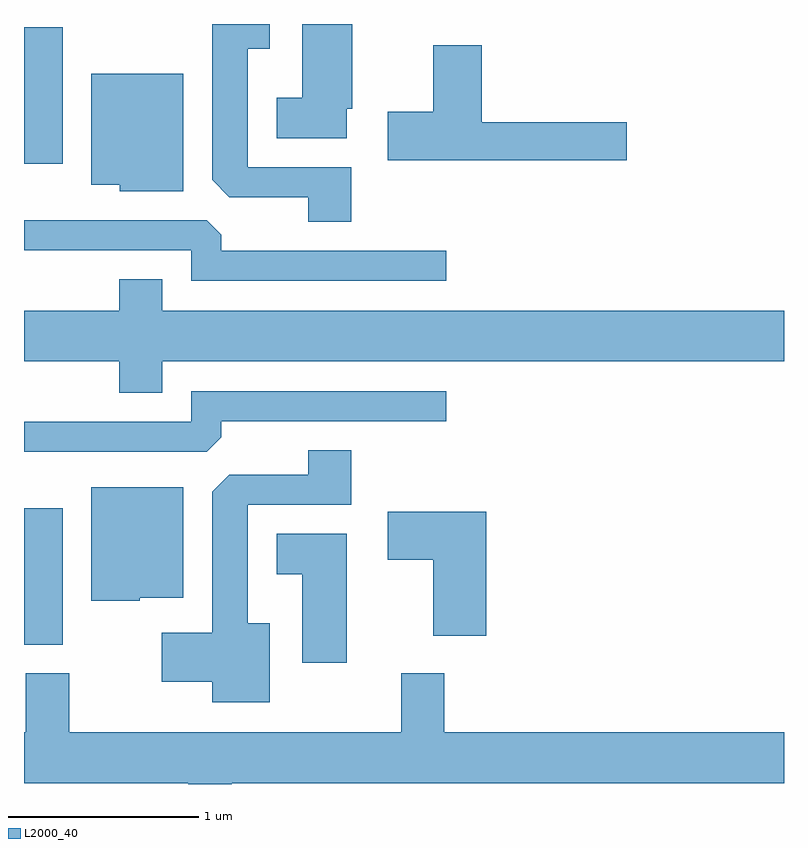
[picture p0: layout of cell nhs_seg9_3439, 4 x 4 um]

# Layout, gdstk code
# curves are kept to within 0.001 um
import gdstk
lib = gdstk.Library(unit=1e-6, precision=1e-09)
def R(c, l, rs):  # rectangles x0, y0, x1, y1
    for r in rs: c.add(gdstk.rectangle(r[:2], r[2:], *l))
def P(c, l, *ps):  # polygons
    for p in ps: c.add(gdstk.Polygon(p, *l))
L2000_40 = (2000, 40)

nhs_seg9_3439 = lib.new_cell('nhs_seg9_3439')
R(nhs_seg9_3439, L2000_40, [(285.611,2039.166,285.814,2039.884), (285.611,2041.696,285.814,2042.414)])
P(nhs_seg9_3439, L2000_40, [(287.334,2041.679),(286.789,2041.679),(286.789,2042.301),(286.904,2042.301),(286.904,2042.432),(286.601,2042.432),(286.601,2041.612),(286.692,2041.521),(287.106,2041.521),(287.106,2041.391),(287.334,2041.391)],
  [(287.309,2041.986),(287.339,2041.986),(287.339,2042.432),(287.076,2042.432),(287.076,2042.044),(286.941,2042.044),(286.941,2041.831),(287.309,2041.831)],
  [(288.784,2041.914),(288.019,2041.914),(288.019,2042.319),(287.766,2042.319),(287.766,2041.969),(287.526,2041.969),(287.526,2041.716),(288.784,2041.716)],
  [(286.449,2042.169),(285.966,2042.169),(285.966,2041.586),(286.116,2041.586),(286.116,2041.551),(286.449,2041.551)],
  [(287.833,2041.239),(286.649,2041.239),(286.649,2041.324),(286.574,2041.399),(285.613,2041.399),(285.613,2041.241),(286.491,2041.241),(286.491,2041.081),(287.833,2041.081)],
  [(286.339,2040.656),(289.611,2040.656),(289.611,2040.924),(286.339,2040.924),(286.339,2041.089),(286.111,2041.089),(286.111,2040.924),(285.611,2040.924),(285.611,2040.656),(286.111,2040.656),(286.111,2040.491),(286.339,2040.491)],
  [(286.649,2040.257),(286.649,2040.341),(287.833,2040.341),(287.833,2040.499),(286.491,2040.499),(286.491,2040.339),(285.613,2040.339),(285.613,2040.181),(286.574,2040.181)],
  [(286.904,2039.279),(286.789,2039.279),(286.789,2039.901),(287.334,2039.901),(287.334,2040.189),(287.106,2040.189),(287.106,2040.059),(286.692,2040.059),(286.601,2039.969),(286.601,2039.229),(286.336,2039.229),(286.336,2038.971),(286.601,2038.971),(286.601,2038.861),(286.904,2038.861)],
  [(286.22,2039.411),(286.449,2039.411),(286.449,2039.994),(285.966,2039.994),(285.966,2039.396),(286.22,2039.396)],
  [(288.044,2039.864),(287.526,2039.864),(287.526,2039.611),(287.766,2039.611),(287.766,2039.211),(288.044,2039.211)],
  [(287.309,2039.749),(286.941,2039.749),(286.941,2039.536),(287.076,2039.536),(287.076,2039.071),(287.309,2039.071)],
  [(286.704,2038.436),(289.611,2038.436),(289.611,2038.704),(287.824,2038.704),(287.824,2039.014),(287.596,2039.014),(287.596,2038.704),(285.849,2038.704),(285.849,2039.014),(285.621,2039.014),(285.621,2038.704),(285.611,2038.704),(285.611,2038.436),(286.476,2038.436),(286.476,2038.432),(286.704,2038.432)])

lib.write_gds('nhs_seg9_3439.gds')
